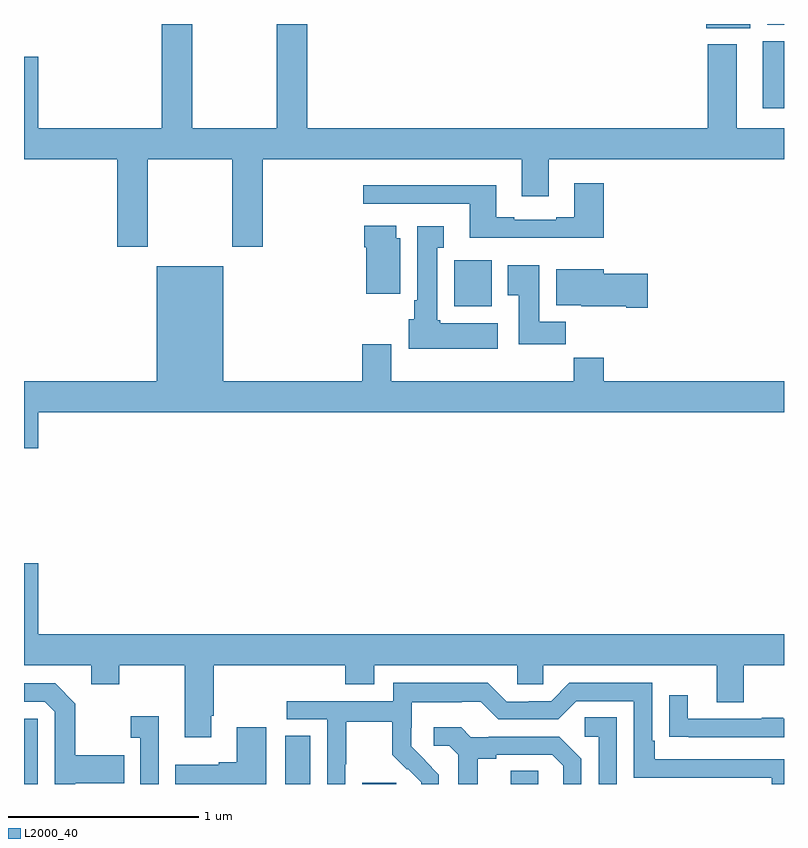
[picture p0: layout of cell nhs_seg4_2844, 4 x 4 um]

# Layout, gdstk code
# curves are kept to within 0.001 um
import gdstk
lib = gdstk.Library(unit=1e-6, precision=1e-09)
def R(c, l, rs):  # rectangles x0, y0, x1, y1
    for r in rs: c.add(gdstk.rectangle(r[:2], r[2:], *l))
def P(c, l, *ps):  # polygons
    for p in ps: c.add(gdstk.Polygon(p, *l))
L2000_40 = (2000, 40)

nhs_seg4_2844 = lib.new_cell('nhs_seg4_2844')
R(nhs_seg4_2844, L2000_40, [(261,758.9,261.072,759.243), (262.376,758.9,262.507,759.155), (262.781,758.9,262.96,758.907), (263.561,758.9,263.706,758.969), (263.264,761.414,263.461,761.656), (264.887,762.456,265,762.808), (264.59,762.878,264.823,762.9), (264.911,762.896,265,762.9)])
P(nhs_seg4_2844, L2000_40, [(261.651,762.188),(262.096,762.188),(262.096,761.727),(262.256,761.727),(262.256,762.188),(263.621,762.188),(263.621,761.994),(263.761,761.994),(263.761,762.188),(265,762.188),(265,762.352),(264.751,762.352),(264.751,762.793),(264.599,762.793),(264.599,762.352),(262.49,762.352),(262.49,762.9),(262.33,762.9),(262.33,762.352),(261.885,762.352),(261.885,762.9),(261.725,762.9),(261.725,762.352),(261.076,762.352),(261.076,762.727),(261,762.727),(261,762.188),(261.491,762.188),(261.491,761.727),(261.651,761.727)],
  [(264.05,762.061),(263.897,762.061),(263.897,761.884),(263.801,761.884),(263.801,761.871),(263.581,761.871),(263.581,761.884),(263.485,761.884),(263.485,762.052),(262.785,762.052),(262.785,761.955),(263.345,761.955),(263.345,761.774),(264.05,761.774)],
  [(262.981,761.772),(262.96,761.772),(262.96,761.839),(262.79,761.839),(262.79,761.726),(262.802,761.726),(262.802,761.48),(262.981,761.48)],
  [(263.494,761.326),(263.19,761.326),(263.19,761.34),(263.176,761.34),(263.176,761.723),(263.209,761.723),(263.209,761.836),(263.069,761.836),(263.069,761.446),(263.054,761.446),(263.054,761.346),(263.024,761.346),(263.024,761.192),(263.494,761.192)],
  [(263.852,761.332),(263.713,761.332),(263.713,761.629),(263.546,761.629),(263.546,761.473),(263.603,761.473),(263.603,761.214),(263.852,761.214)],
  [(261.076,760.856),(265,760.856),(265,761.02),(264.05,761.02),(264.05,761.144),(263.893,761.144),(263.893,761.02),(262.933,761.02),(262.933,761.215),(262.781,761.215),(262.781,761.02),(262.048,761.02),(262.048,761.626),(261.698,761.626),(261.698,761.02),(261,761.02),(261,760.668),(261.076,760.668)],
  [(264.283,761.585),(264.052,761.585),(264.052,761.608),(263.801,761.608),(263.801,761.42),(263.934,761.42),(263.934,761.414),(264.17,761.414),(264.17,761.407),(264.283,761.407)],
  [(261.076,760.063),(261,760.063),(261,759.524),(261.353,759.524),(261.353,759.425),(261.501,759.425),(261.501,759.524),(261.845,759.524),(261.845,759.147),(261.985,759.147),(261.985,759.259),(261.998,759.259),(261.998,759.524),(262.691,759.524),(262.691,759.425),(262.843,759.425),(262.843,759.524),(263.595,759.524),(263.595,759.426),(263.733,759.426),(263.733,759.524),(264.647,759.524),(264.647,759.33),(264.787,759.33),(264.787,759.524),(265,759.524),(265,759.688),(261.076,759.688)],
  [(262.692,759.004),(262.695,759.004),(262.695,759.228),(262.939,759.228),(262.939,759.053),(263.016,758.976),(263.019,758.979),(263.09,758.909),(263.09,758.9),(263.184,758.9),(263.184,758.95),(263.038,759.098),(263.038,759.195),(263.04,759.195),(263.04,759.329),(263.303,759.329),(263.303,759.333),(263.403,759.333),(263.496,759.24),(263.811,759.24),(263.907,759.336),(264.21,759.336),(264.21,758.934),(264.935,758.934),(264.935,758.9),(265,758.9),(265,759.03),(264.319,759.03),(264.319,759.127),(264.306,759.127),(264.306,759.432),(263.871,759.432),(263.775,759.336),(263.657,759.336),(263.657,759.333),(263.541,759.333),(263.441,759.433),(262.944,759.433),(262.944,759.336),(262.383,759.336),(262.383,759.24),(262.596,759.24),(262.596,758.9),(262.692,758.9)],
  [(261.271,758.903),(261.527,758.903),(261.527,759.051),(261.271,759.051),(261.271,759.323),(261.165,759.429),(261,759.429),(261,759.333),(261.108,759.333),(261.162,759.279),(261.162,758.9),(261.271,758.9)],
  [(265,759.243),(264.995,759.243),(264.995,759.248),(264.883,759.248),(264.883,759.243),(264.493,759.243),(264.493,759.367),(264.397,759.367),(264.397,759.148),(264.499,759.148),(264.499,759.147),(265,759.147)],
  [(261.708,759.256),(261.561,759.256),(261.561,759.143),(261.612,759.143),(261.612,758.9),(261.708,758.9)],
  [(264.12,759.251),(263.952,759.251),(263.952,759.15),(264.024,759.15),(264.024,758.9),(264.12,758.9)],
  [(263.389,759.032),(263.485,759.032),(263.485,759.054),(263.78,759.054),(263.837,758.997),(263.837,758.9),(263.934,758.9),(263.934,759.034),(263.818,759.15),(263.446,759.15),(263.446,759.147),(263.352,759.147),(263.3,759.199),(263.157,759.199),(263.157,759.102),(263.238,759.102),(263.285,759.055),(263.285,758.9),(263.389,758.9)],
  [(262.276,759.199),(262.121,759.199),(262.121,759.014),(262.025,759.014),(262.025,759.001),(261.795,759.001),(261.795,758.9),(262.276,758.9)])

lib.write_gds('nhs_seg4_2844.gds')
